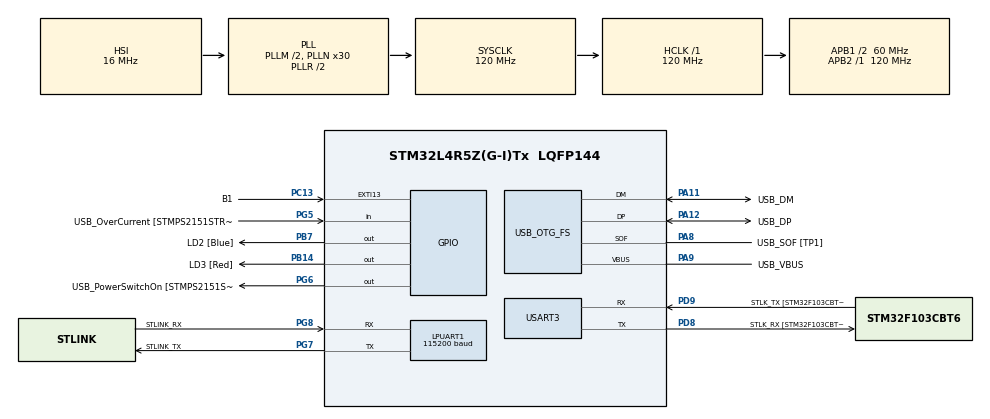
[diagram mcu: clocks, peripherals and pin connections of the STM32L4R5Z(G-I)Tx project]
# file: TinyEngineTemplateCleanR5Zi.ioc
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LPUART1.BaudRate=115200
LPUART1.WordLength=UART_WORDLENGTH_8B
Mcu.Family=STM32L4
Mcu.Name=STM32L4R5Z(G-I)Tx
Mcu.Package=LQFP144
NVIC.PriorityGroup=NVIC_PRIORITYGROUP_4
PA10.GPIO_Label=USB_ID
PA10.Signal=USB_OTG_FS_ID
PA11.GPIO_Label=USB_DM
PA11.Mode=Device_Only
PA11.Signal=USB_OTG_FS_DM
PA12.GPIO_Label=USB_DP
PA12.Mode=Device_Only
PA12.Signal=USB_OTG_FS_DP
PA13\ (JTMS/SWDIO).GPIO_Label=TMS
PA13\ (JTMS/SWDIO).Mode=Trace_Asynchronous_SW
PA13\ (JTMS/SWDIO).Signal=SYS_JTMS-SWDIO
PA14\ (JTCK/SWCLK).GPIO_Label=TCK
PA14\ (JTCK/SWCLK).Mode=Trace_Asynchronous_SW
PA14\ (JTCK/SWCLK).Signal=SYS_JTCK-SWCLK
PA8.GPIO_Label=USB_SOF [TP1]
PA8.Mode=Activate_SOF_FS
PA8.Signal=USB_OTG_FS_SOF
PA9.GPIO_Label=USB_VBUS
PA9.Mode=Activate_VBUS
PA9.Signal=USB_OTG_FS_VBUS
PB14.GPIO_Label=LD3 [Red]
PB14.Signal=GPIO_Output
PB3\ (JTDO/TRACESWO).GPIO_Label=SWO
PB3\ (JTDO/TRACESWO).Mode=Trace_Asynchronous_SW
PB3\ (JTDO/TRACESWO).Signal=SYS_JTDO-SWO
PB7.GPIO_Label=LD2 [Blue]
PB7.Signal=GPIO_Output
PC13.GPIO_Label=B1
PC13.Signal=GPXTI13
PC14-OSC32_IN\ (PC14).Mode=LSE-External-Oscillator
PC14-OSC32_IN\ (PC14).Signal=RCC_OSC32_IN
PC15-OSC32_OUT\ (PC15).Mode=LSE-External-Oscillator
PC15-OSC32_OUT\ (PC15).Signal=RCC_OSC32_OUT
PD8.GPIO_Label=STLK_RX [STM32F103CBT6_PA3]
PD8.Mode=Asynchronous
PD8.Signal=USART3_TX
PD9.GPIO_Label=STLK_TX [STM32F103CBT6_PA2]
PD9.Mode=Asynchronous
PD9.Signal=USART3_RX
PG5.GPIO_Label=USB_OverCurrent [STMPS2151STR_FAULT]
PG5.Signal=GPIO_Input
PG6.GPIO_Label=USB_PowerSwitchOn [STMPS2151STR_EN]
PG6.Signal=GPIO_Output
PG7.GPIO_Label=STLINK_TX
PG7.Mode=Asynchronous
PG7.Signal=LPUART1_TX
PG8.GPIO_Label=STLINK_RX
PG8.Mode=Asynchronous
PG8.Signal=LPUART1_RX
PH0-OSC_IN\ (PH0).Signal=RCC_OSC_IN
PH1-OSC_OUT\ (PH1).Signal=RCC_OSC_OUT
ProjectManager.HeapSize=0x200
ProjectManager.StackSize=0x400
ProjectManager.TargetToolchain=STM32CubeIDE
RCC.48MHZClocksFreq_Value=24000000
RCC.ADCFreq_Value=96000000
RCC.AHBFreq_Value=120000000
RCC.APB1CLKDivider=RCC_HCLK_DIV2
RCC.APB1Freq_Value=60000000
RCC.APB1TimFreq_Value=120000000
RCC.APB2Freq_Value=120000000
RCC.APB2TimFreq_Value=120000000
RCC.CK48CLockSelection=RCC_USBCLKSOURCE_HSI48
RCC.CortexFreq_Value=120000000
RCC.HCLKFreq_Value=120000000
RCC.HSE_VALUE=8000000
RCC.HSI48_VALUE=48000000
RCC.HSI_VALUE=16000000
RCC.MSI_VALUE=4000000
RCC.PLLM1=2
RCC.PLLMUL=RCC_PLL_MUL9
RCC.PLLN=30
RCC.PLLSAI1N=12
RCC.PLLSourceVirtual=RCC_PLLSOURCE_HSI
RCC.PRESCALERUSB=RCC_USBCLKSOURCE_PLL_DIV1_5
RCC.SYSCLKFreq_VALUE=120000000
RCC.SYSCLKSource=RCC_SYSCLKSOURCE_PLLCLK
RCC.SYSCLKSourceVirtual=RCC_SYSCLKSOURCE_PLLCLK
RCC.USBFreq_Value=48000000
RCC.VCOOutputFreq_Value=240000000
USART3.VirtualMode-Asynchronous=VM_ASYNC
USB_OTG_FS.VirtualMode=Device_Only
board=NUCLEO-L4R5ZI

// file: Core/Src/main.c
/* USER CODE BEGIN Header */
/**
 ******************************************************************************
 * @file           : main.c
 * @brief          : Main program body
 ******************************************************************************
 * @attention
 *
 * Copyright (c) 2023 STMicroelectronics.
 * All rights reserved.
 *
 * This software is licensed under terms that can be found in the LICENSE file
 * in the root directory of this software component.
 * If no LICENSE file comes with this software, it is provided AS-IS.
 *
 ******************************************************************************
 */
/* USER CODE END Header */
#include "main.h"
#include "genNN.h"
#include "profiling.h"
#include "ml_data.h"
#include <stdio.h>
#include <string.h>

/* USER CODE BEGIN PD */

// # define NUM_TEST_TENSORS <NUM_TEST_TENSORS>
#define NUM_REPS 1
#define COLS 640
#define OUT_COLS_LIMITED 10
#define OUT_COLS 640
/* USER CODE END PD */

UART_HandleTypeDef hlpuart1;
UART_HandleTypeDef huart3;

PCD_HandleTypeDef hpcd_USB_OTG_FS;

void SystemClock_Config(void);
static void MX_GPIO_Init(void);
static void MX_LPUART1_UART_Init(void);
static void MX_USART3_UART_Init(void);
static void MX_USB_OTG_FS_PCD_Init(void);

/* USER CODE BEGIN 0 */
int int8_tToString(int8_t value, char *buffer, int bufferSize)
{
  return snprintf(buffer, bufferSize, "%d ", value);
}

/* USER CODE END 0 */

int main(void)
{

  /* MCU Configuration--------------------------------------------------------*/

  /* Reset of all peripherals, Initializes the Flash interface and the Systick. */
  HAL_Init();

  /* Configure the system clock */
  SystemClock_Config();

  /* Initialize all configured peripherals */
  MX_GPIO_Init();
  MX_LPUART1_UART_Init();
  MX_USART3_UART_Init();
  MX_USB_OTG_FS_PCD_Init();

  /* Infinite loop */
  /* USER CODE BEGIN WHILE */
  char begin_message[22] = "###################\r\n";
  int num_runs = 1;

  signed char *input = getInput();
  // int16_t *inputAddr = (int16_t *)&input[32 * 32 * 3];
  int8_t *inputAddr = (int8_t *)input;

  signed char *output = getOutput();
  // int16_t *outputAddr = (int16_t *)&output;
  int8_t *outputAddr = (int8_t *)output;

  int i;
  int k;
  size_t dataSizeInBytes = COLS * sizeof(array[0][0]);

  // measure latency per layer NUM_REPS times for each input tensor
  uint8_t start_message[] = "Start of benchmark.\r\n";
  HAL_UART_Transmit(&hlpuart1, start_message, sizeof(start_message), HAL_MAX_DELAY);

  while (1)
  {
    // RUN PER LAYER TIMING MEASUREMENTS
    //    for (i = 0; i < ROWS; i++)
    //    {
    //      memcpy(inputAddr, array[i], dataSizeInBytes);
    //
    //      for (k = 0; k < NUM_REPS; k++)
    //      {
    //        PROFILING_START("MAIN loop timing");
    //        __disable_irq();
    //        PROFILING_EVENT("BEGIN");
    //        invoke_inf();
    //        PROFILING_EVENT("END");
    //        __enable_irq();
    //        PROFILING_STOP(&hlpuart1);
    //      }
    //    }
    uint8_t end_message[] = "Finished timing measurements!\r\n";
    HAL_UART_Transmit(&hlpuart1, end_message, sizeof(end_message), HAL_MAX_DELAY);

    // int16_t out_array[ROWS][OUT_COLS];
    // int8_t out_array[ROWS][OUT_COLS];

    // size_t out_dtype_size = sizeof(int16_t);
    size_t out_dtype_size = sizeof(int8_t);
    uint8_t txbuf[64];
    // RUN INFERENCE TO RETRIVE OUTPUT DATA
    for (i = 0; i < ROWS; i++)
    {
      // iterate over elements of one flattened input tensor
      // memcpy(inputAddr, array[i], dataSizeInBytes);
      for (k = 0; k < COLS; k++)
      {
        inputAddr[k] = array[i][k];
      }

      //////////////////////////////////////
//      for (k = 0; k < OUT_COLS_LIMITED; k++)
//      {
//        int length = 0;
//        length = int8_tToString((int8_t)inputAddr[k], txbuf, sizeof(txbuf));
//        HAL_UART_Transmit(&hlpuart1, txbuf, length, HAL_MAX_DELAY);
//      }
//      HAL_UART_Transmit(&hlpuart1, "\r\n", sizeof("\r\n"), HAL_MAX_DELAY);
      //////////////////////////////////////

      invoke_inf();
      // invoke(NULL);
      // memcpy(out_array[i], outputAddr, OUT_COLS * out_dtype_size);

      // uint8_t new_tensor_message2[] = "Out tensor values:\r\n";
      // HAL_UART_Transmit(&hlpuart1, new_tensor_message2, strlen(new_tensor_message2), HAL_MAX_DELAY);
      for (k = 0; k < OUT_COLS_LIMITED; k++)
      {
        // check if out_array is of type float
        int length = 0;
        // length = int8_tToString(outputAddr[k], txbuf, sizeof(txbuf));
        length = int8_tToString((int8_t)output[k], txbuf, sizeof(txbuf));
        HAL_UART_Transmit(&hlpuart1, txbuf, length, HAL_MAX_DELAY);
      }
      HAL_UART_Transmit(&hlpuart1, "\r\n\r\n", sizeof("\r\n\r\n"), HAL_MAX_DELAY);
    }

    //    for (i = 0; i < ROWS; i++)
    //    {
    //
    //      // int length = sprintf((char*)txbuf, "Returned: %<o_format_specifier>\r\n", (<o_type>)out_array[i][0]);
    //      uint8_t new_tensor_message[] = "Tensor values:\r\n";
    //      HAL_UART_Transmit(&hlpuart1, new_tensor_message, strlen(new_tensor_message), HAL_MAX_DELAY);
    //      for (k = 0; k < OUT_COLS; k++)
    //      {
    //        // check if out_array is of type float
    //        int length = 0;
    //        length = int16_tToString(out_array[i][k], txbuf, sizeof(txbuf));
    //        // length = int8_tToString(out_array[i][k], txbuf, sizeof(txbuf));
    //        HAL_UART_Transmit(&hlpuart1, txbuf, length, HAL_MAX_DELAY);
    //      }
    //      HAL_UART_Transmit(&hlpuart1, "\r\n", sizeof("\r\n"), HAL_MAX_DELAY);
    //    }

    uint8_t final_message[] = "End of benchmark.\r\n";
    HAL_UART_Transmit(&hlpuart1, final_message, strlen(final_message), HAL_MAX_DELAY);
    break;
    /* USER CODE END WHILE */

  }
}

void SystemClock_Config(void)
{
  RCC_OscInitTypeDef RCC_OscInitStruct = {0};
  RCC_ClkInitTypeDef RCC_ClkInitStruct = {0};

  /** Configure the main internal regulator output voltage
   */
  if (HAL_PWREx_ControlVoltageScaling(PWR_REGULATOR_VOLTAGE_SCALE1_BOOST) != HAL_OK)
  {
    Error_Handler();
  }

  /** Initializes the RCC Oscillators according to the specified parameters
   * in the RCC_OscInitTypeDef structure.
   */
  RCC_OscInitStruct.OscillatorType = RCC_OSCILLATORTYPE_HSI48 | RCC_OSCILLATORTYPE_HSI;
  RCC_OscInitStruct.HSIState = RCC_HSI_ON;
  RCC_OscInitStruct.HSI48State = RCC_HSI48_ON;
  RCC_OscInitStruct.HSICalibrationValue = RCC_HSICALIBRATION_DEFAULT;
  RCC_OscInitStruct.PLL.PLLState = RCC_PLL_ON;
  RCC_OscInitStruct.PLL.PLLSource = RCC_PLLSOURCE_HSI;
  RCC_OscInitStruct.PLL.PLLM = 2;
  RCC_OscInitStruct.PLL.PLLN = 30;
  RCC_OscInitStruct.PLL.PLLP = RCC_PLLP_DIV2;
  RCC_OscInitStruct.PLL.PLLQ = RCC_PLLQ_DIV2;
  RCC_OscInitStruct.PLL.PLLR = RCC_PLLR_DIV2;
  if (HAL_RCC_OscConfig(&RCC_OscInitStruct) != HAL_OK)
  {
    Error_Handler();
  }

  /** Initializes the CPU, AHB and APB buses clocks
   */
  RCC_ClkInitStruct.ClockType = RCC_CLOCKTYPE_HCLK | RCC_CLOCKTYPE_SYSCLK | RCC_CLOCKTYPE_PCLK1 | RCC_CLOCKTYPE_PCLK2;
  RCC_ClkInitStruct.SYSCLKSource = RCC_SYSCLKSOURCE_PLLCLK;
  RCC_ClkInitStruct.AHBCLKDivider = RCC_SYSCLK_DIV1;
  RCC_ClkInitStruct.APB1CLKDivider = RCC_HCLK_DIV2;
  RCC_ClkInitStruct.APB2CLKDivider = RCC_HCLK_DIV1;

  if (HAL_RCC_ClockConfig(&RCC_ClkInitStruct, FLASH_LATENCY_5) != HAL_OK)
  {
    Error_Handler();
  }
}

static void MX_LPUART1_UART_Init(void)
{

  hlpuart1.Instance = LPUART1;
  hlpuart1.Init.BaudRate = 115200;
  hlpuart1.Init.WordLength = UART_WORDLENGTH_8B;
  hlpuart1.Init.StopBits = UART_STOPBITS_1;
  hlpuart1.Init.Parity = UART_PARITY_NONE;
  hlpuart1.Init.Mode = UART_MODE_TX_RX;
  hlpuart1.Init.HwFlowCtl = UART_HWCONTROL_NONE;
  hlpuart1.Init.OneBitSampling = UART_ONE_BIT_SAMPLE_DISABLE;
  hlpuart1.Init.ClockPrescaler = UART_PRESCALER_DIV1;
  hlpuart1.AdvancedInit.AdvFeatureInit = UART_ADVFEATURE_NO_INIT;
  hlpuart1.FifoMode = UART_FIFOMODE_DISABLE;
  if (HAL_UART_Init(&hlpuart1) != HAL_OK)
  {
    Error_Handler();
  }
  if (HAL_UARTEx_SetTxFifoThreshold(&hlpuart1, UART_TXFIFO_THRESHOLD_1_8) != HAL_OK)
  {
    Error_Handler();
  }
  if (HAL_UARTEx_SetRxFifoThreshold(&hlpuart1, UART_RXFIFO_THRESHOLD_1_8) != HAL_OK)
  {
    Error_Handler();
  }
  if (HAL_UARTEx_DisableFifoMode(&hlpuart1) != HAL_OK)
  {
    Error_Handler();
  }
}

static void MX_USART3_UART_Init(void)
{

  huart3.Instance = USART3;
  huart3.Init.BaudRate = 115200;
  huart3.Init.WordLength = UART_WORDLENGTH_8B;
  huart3.Init.StopBits = UART_STOPBITS_1;
  huart3.Init.Parity = UART_PARITY_NONE;
  huart3.Init.Mode = UART_MODE_TX_RX;
  huart3.Init.HwFlowCtl = UART_HWCONTROL_NONE;
  huart3.Init.OverSampling = UART_OVERSAMPLING_16;
  huart3.Init.OneBitSampling = UART_ONE_BIT_SAMPLE_DISABLE;
  huart3.Init.ClockPrescaler = UART_PRESCALER_DIV1;
  huart3.AdvancedInit.AdvFeatureInit = UART_ADVFEATURE_NO_INIT;
  if (HAL_UART_Init(&huart3) != HAL_OK)
  {
    Error_Handler();
  }
  if (HAL_UARTEx_SetTxFifoThreshold(&huart3, UART_TXFIFO_THRESHOLD_1_8) != HAL_OK)
  {
    Error_Handler();
  }
  if (HAL_UARTEx_SetRxFifoThreshold(&huart3, UART_RXFIFO_THRESHOLD_1_8) != HAL_OK)
  {
    Error_Handler();
  }
  if (HAL_UARTEx_DisableFifoMode(&huart3) != HAL_OK)
  {
    Error_Handler();
  }
}

static void MX_USB_OTG_FS_PCD_Init(void)
{

  hpcd_USB_OTG_FS.Instance = USB_OTG_FS;
  hpcd_USB_OTG_FS.Init.dev_endpoints = 6;
  hpcd_USB_OTG_FS.Init.phy_itface = PCD_PHY_EMBEDDED;
  hpcd_USB_OTG_FS.Init.Sof_enable = ENABLE;
  hpcd_USB_OTG_FS.Init.low_power_enable = DISABLE;
  hpcd_USB_OTG_FS.Init.lpm_enable = DISABLE;
  hpcd_USB_OTG_FS.Init.battery_charging_enable = ENABLE;
  hpcd_USB_OTG_FS.Init.use_dedicated_ep1 = DISABLE;
  hpcd_USB_OTG_FS.Init.vbus_sensing_enable = ENABLE;
  if (HAL_PCD_Init(&hpcd_USB_OTG_FS) != HAL_OK)
  {
    Error_Handler();
  }
}

static void MX_GPIO_Init(void)
{
  GPIO_InitTypeDef GPIO_InitStruct = {0};

  /* GPIO Ports Clock Enable */
  __HAL_RCC_GPIOC_CLK_ENABLE();
  __HAL_RCC_GPIOH_CLK_ENABLE();
  __HAL_RCC_GPIOB_CLK_ENABLE();
  __HAL_RCC_GPIOD_CLK_ENABLE();
  __HAL_RCC_GPIOG_CLK_ENABLE();
  HAL_PWREx_EnableVddIO2();
  __HAL_RCC_GPIOA_CLK_ENABLE();

  /*Configure GPIO pin Output Level */
  HAL_GPIO_WritePin(GPIOB, LD3_Pin | LD2_Pin, GPIO_PIN_RESET);

  /*Configure GPIO pin Output Level */
  HAL_GPIO_WritePin(USB_PowerSwitchOn_GPIO_Port, USB_PowerSwitchOn_Pin, GPIO_PIN_RESET);

  /*Configure GPIO pin : B1_Pin */
  GPIO_InitStruct.Pin = B1_Pin;
  GPIO_InitStruct.Mode = GPIO_MODE_IT_RISING;
  GPIO_InitStruct.Pull = GPIO_NOPULL;
  HAL_GPIO_Init(B1_GPIO_Port, &GPIO_InitStruct);

  /*Configure GPIO pins : LD3_Pin LD2_Pin */
  GPIO_InitStruct.Pin = LD3_Pin | LD2_Pin;
  GPIO_InitStruct.Mode = GPIO_MODE_OUTPUT_PP;
  GPIO_InitStruct.Pull = GPIO_NOPULL;
  GPIO_InitStruct.Speed = GPIO_SPEED_FREQ_LOW;
  HAL_GPIO_Init(GPIOB, &GPIO_InitStruct);

  /*Configure GPIO pin : USB_OverCurrent_Pin */
  GPIO_InitStruct.Pin = USB_OverCurrent_Pin;
  GPIO_InitStruct.Mode = GPIO_MODE_INPUT;
  GPIO_InitStruct.Pull = GPIO_NOPULL;
  HAL_GPIO_Init(USB_OverCurrent_GPIO_Port, &GPIO_InitStruct);

  /*Configure GPIO pin : USB_PowerSwitchOn_Pin */
  GPIO_InitStruct.Pin = USB_PowerSwitchOn_Pin;
  GPIO_InitStruct.Mode = GPIO_MODE_OUTPUT_PP;
  GPIO_InitStruct.Pull = GPIO_NOPULL;
  GPIO_InitStruct.Speed = GPIO_SPEED_FREQ_LOW;
  HAL_GPIO_Init(USB_PowerSwitchOn_GPIO_Port, &GPIO_InitStruct);

}

void Error_Handler(void)
{
  __disable_irq();
  while (1)
  {
  }
}
